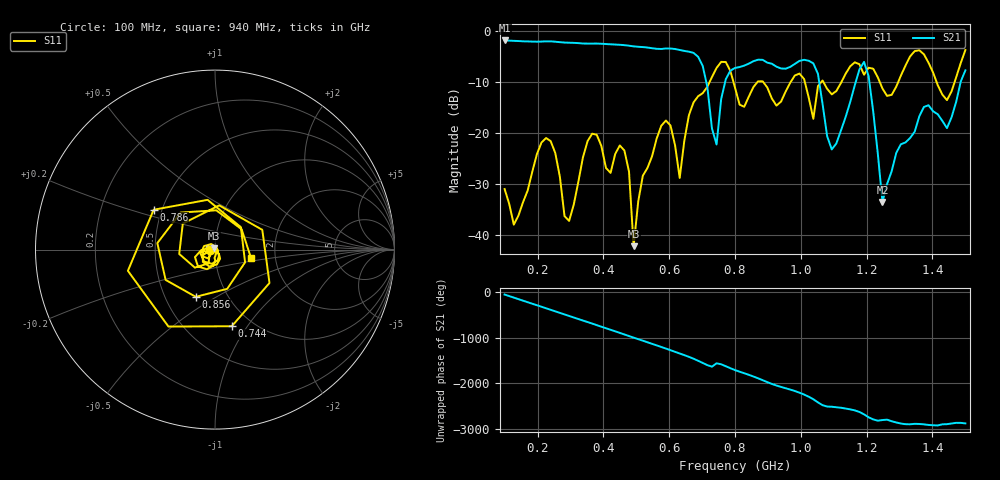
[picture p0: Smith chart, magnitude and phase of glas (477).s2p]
! NanoVNA-App
! Date: 2025-09-25 15:59:11
! Start: 100MHz Stop: 1,5GHz Points: 101
! S-Parameter data: F S11 S21 S12 S22
# Hz S RI R 50
!  Frequency  S11_Real  S11_Imag  S21_Real  S21_Imag  S12_Real  S12_Imag  S22_Real  S22_Imag
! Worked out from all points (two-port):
!   101 points, 100 MHz to 1.5 GHz, reference 50 ohm
!   highest |S21| = -1.80 dB at 100 MHz (marker M1); lowest = -33.4 dB at 1.248 GHz (marker M2)
!   |S21| within 3 dB of the highest: start of sweep to 684.3 MHz
!   lowest |S11| = -42.1 dB at 492 MHz (marker M3), VSWR 1.02, Z = 49.5 + j0.613 ohm
!   |S11| at or under -10 dB: start of sweep to 722.5 MHz; 795.5 MHz to 867.7 MHz (72.26 MHz wide, 8.69 % of centre); 886.2 MHz to 968.6 MHz (82.4 MHz wide, 8.89 % of centre) (the widest 3 of 7)
!   S12 and S22 are empty: the file has one direction only
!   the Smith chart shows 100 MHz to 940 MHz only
!   S11 on the Smith chart (normalised r, x): 100 MHz: 0.95, -0.01; 744 MHz: 0.81, -0.85; 786 MHz: 0.45, +0.24; 856 MHz: 0.71, -0.41; 940 MHz: 1.49, -0.14
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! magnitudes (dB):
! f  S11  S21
! 100 MHz  -30.9  -1.8
! 128 MHz  -37.9  -1.9
! 226 MHz  -20.9  -2.0
! 296 MHz  -37.2  -2.2
! 338 MHz  -24.7  -2.4
! 464 MHz  -23.4  -2.7
! 492 MHz  -42.1  -3.0
! 576 MHz  -18.5  -3.5
! 632 MHz  -28.8  -3.7
! 702 MHz  -12.1  -6.8
! 744 MHz  -7.2  -22.2
! 786 MHz  -7.8  -7.7
! 800 MHz  -11.0  -7.2
! 856 MHz  -10.9  -5.9
! 940 MHz  -13.8  -7.3
! 1.038 GHz  -17.2  -6.3
! 1.094 GHz  -12.4  -23.2
! 1.192 GHz  -8.5  -6.0
! 1.248 GHz  -11.2  -33.4
! 1.276 GHz  -12.5  -27.4
! 1.444 GHz  -13.5  -19.0
! 1.5 GHz  -3.7  -7.7
